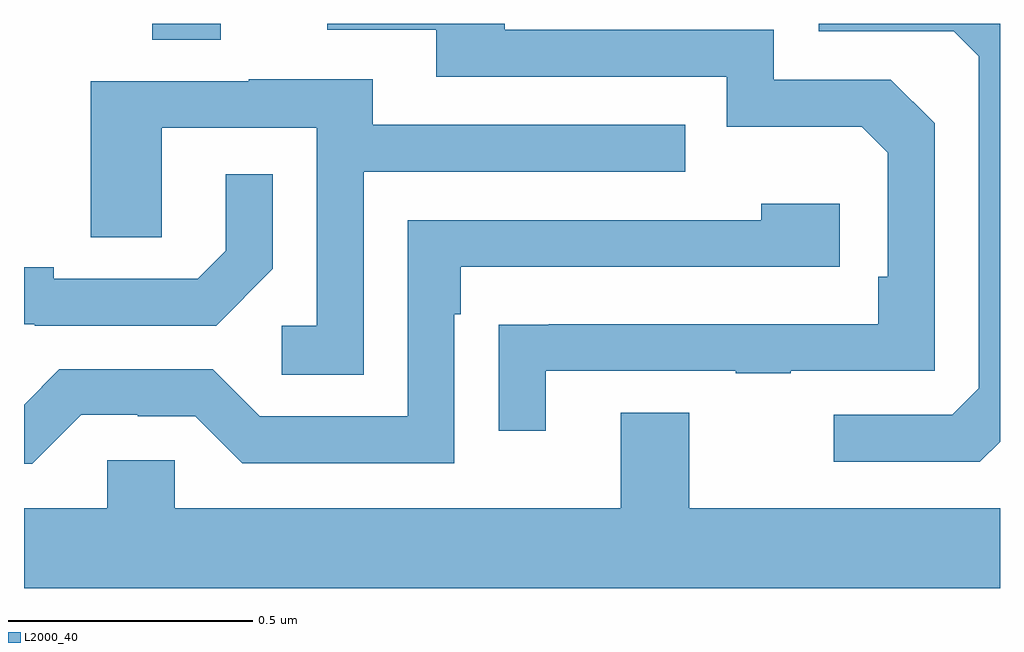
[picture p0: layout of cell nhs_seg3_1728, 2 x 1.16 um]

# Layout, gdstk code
import gdstk
lib = gdstk.Library(unit=1e-6, precision=1e-09)
def R(c, l, rs):  # rectangles x0, y0, x1, y1
    for r in rs: c.add(gdstk.rectangle(r[:2], r[2:], *l))
def P(c, l, *ps):  # polygons
    for p in ps: c.add(gdstk.Polygon(p, *l))
L2000_40 = (2000, 40)

nhs_seg3_1728 = lib.new_cell('nhs_seg3_1728')
R(nhs_seg3_1728, L2000_40, [(132.263,707.368,132.403,707.4)])
P(nhs_seg3_1728, L2000_40, [(133.069,706.689),(133.459,706.689),(133.459,706.684),(133.571,706.684),(133.571,706.689),(133.866,706.689),(133.866,707.196),(133.776,707.286),(133.536,707.286),(133.536,707.388),(132.985,707.388),(132.985,707.4),(132.621,707.4),(132.621,707.388),(132.845,707.388),(132.845,707.292),(133.44,707.292),(133.44,707.189),(133.717,707.189),(133.77,707.136),(133.77,706.882),(133.75,706.882),(133.75,706.785),(133.075,706.785),(133.075,706.784),(132.973,706.784),(132.973,706.566),(133.069,706.566)],
  [(134,706.544),(134,707.4),(133.629,707.4),(133.629,707.385),(133.905,707.385),(133.956,707.334),(133.956,706.653),(133.902,706.599),(133.659,706.599),(133.659,706.503),(133.959,706.503)],
  [(132.696,707.097),(133.355,707.097),(133.355,707.193),(132.715,707.193),(132.715,707.287),(132.461,707.287),(132.461,707.283),(132.137,707.283),(132.137,706.963),(132.282,706.963),(132.282,707.187),(132.6,707.187),(132.6,706.782),(132.528,706.782),(132.528,706.681),(132.696,706.681)],
  [(132.51,706.898),(132.51,707.092),(132.413,707.092),(132.413,706.935),(132.356,706.878),(132.061,706.878),(132.061,706.901),(132,706.901),(132,706.785),(132.022,706.785),(132.022,706.782),(132.394,706.782)],
  [(132.117,706.599),(132.233,706.599),(132.233,706.596),(132.351,706.596),(132.447,706.5),(132.882,706.5),(132.882,706.805),(132.895,706.805),(132.895,706.902),(133.672,706.902),(133.672,707.032),(133.511,707.032),(133.511,706.998),(132.786,706.998),(132.786,706.596),(132.483,706.596),(132.387,706.692),(132.072,706.692),(132,706.62),(132,706.499),(132.017,706.499)],
  [(134,706.408),(133.363,706.408),(133.363,706.603),(133.223,706.603),(133.223,706.408),(132.309,706.408),(132.309,706.506),(132.171,706.506),(132.171,706.408),(132,706.408),(132,706.244),(134,706.244)])

lib.write_gds('nhs_seg3_1728.gds')
